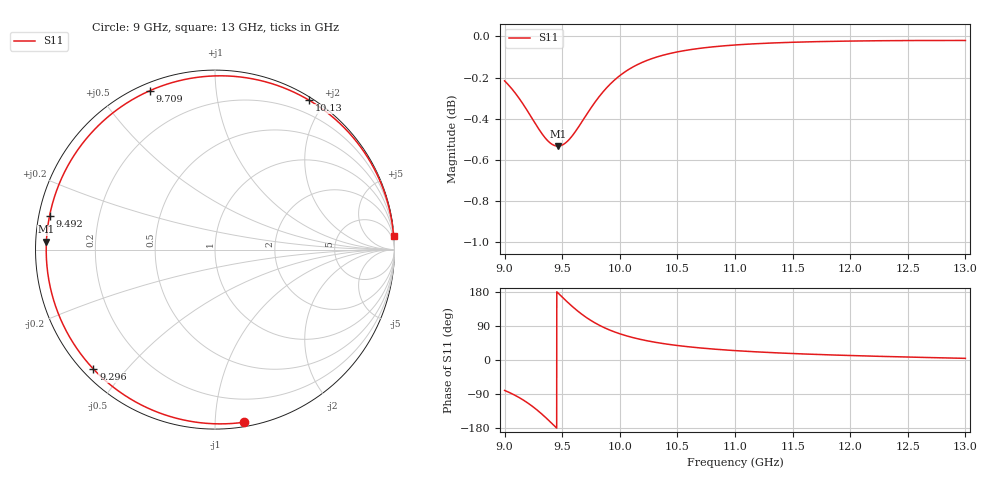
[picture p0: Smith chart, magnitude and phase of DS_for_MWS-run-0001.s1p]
! TOUCHSTONE file generated by CST DESIGN STUDIO
! Date and time: Tue Feb  4 18:05:55 2025
! Project name: C:\Work\MatlabApps\UnitCellOptimizationMatlab\CST\unitcell.cst
! Tree item: Tasks\Sweep1\SPara1\S-Parameters
! Header version: 2024
! Port assignment regex: !\s*Touchstone port\s*([0-9]+)\s*=\s*(CST MWS port|CST DES external port|CST DES block port)\s*(.+)\s* \(\"(.*)\"\)(\s*mode\s*([0-9]+))?.*
! Touchstone port assignment:
! Touchstone port 1 = CST DES external port 1 ("")
# GHz S MA R 50
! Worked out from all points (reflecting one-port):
!   4001 points, 9 GHz to 13 GHz, reference 50 ohm
!   lowest |S11| = -0.5 dB at 9.462 GHz (marker M1), VSWR 32.58, Z = 1.54 + j1.19 ohm
!   phase of S11 starts at -80 deg and turns -275 deg over the sweep
!   S11 on the Smith chart (normalised r, x): 9 GHz: 0.03, -1.18; 9.296 GHz: 0.03, -0.41; 9.492 GHz: 0.03, +0.10; 9.709 GHz: 0.03, +0.67; 10.13 GHz: 0.04, +1.81; 13 GHz: 1, +26
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9  0.9754 -80.3
9.092  0.9688 -93.4
9.166  0.9623 -106.4
9.233  0.9557 -120.4
9.296  0.9495 -135.5
9.339  0.9458 -147.0
9.385  0.9426 -159.9
9.424  0.941 -171.4
9.462  0.9404 177.3
9.492  0.9408 168.4
9.5  0.941 166.0
9.55  0.9433 151.6
9.607  0.9475 136.1
9.657  0.952 123.8
9.709  0.9569 112.3
9.766  0.9622 101.2
9.83  0.9676 90.5
9.913  0.9734 79.0
10  0.9783 69.2
10.132  0.9836 57.7
10.298  0.9881 47.3
10.5  0.9914 38.2
10.723  0.9936 31.1
11  0.9952 24.8
11.5  0.9967 17.1
12  0.9974 11.8
12.5  0.9977 7.8
13  0.9977 4.4
